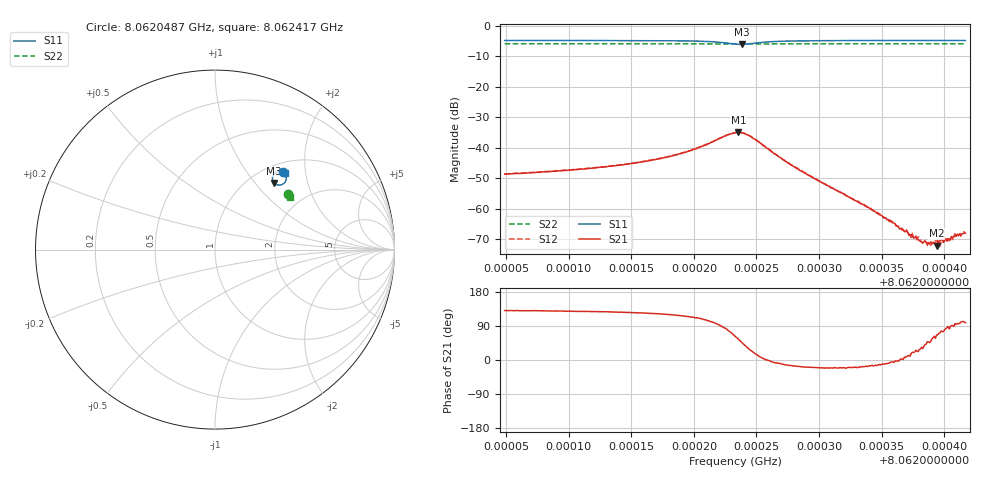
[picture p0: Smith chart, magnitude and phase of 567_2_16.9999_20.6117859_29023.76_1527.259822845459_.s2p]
#  HZ  S  RI  R  50.00
! Rohde & Schwarz Vector Network Analyzer
! Rohde-Schwarz,ZNB20-2Port,1311601062101988,3.16
! Created: UTC 3/20/2024, 11:17:27 PM
! freq[Hz]  re:S11  im:S11  re:S21  im:S21  re:S12  im:S12  re:S22  im:S22
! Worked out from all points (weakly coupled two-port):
!   401 points, 8.0620487 GHz to 8.062417 GHz, reference 50 ohm
!   highest |S21| = -34.91 dB at 8.0622356 GHz (marker M1); lowest = -72.0 dB at 8.062394 GHz (marker M2)
!   lowest |S11| = -6.1 dB at 8.0622384 GHz (marker M3), VSWR 2.98, Z = 64.2 + j63.4 ohm
!   |S11| at or under -10 dB: nowhere
!   |S22| runs from -5.9 to -5.9 dB; largest |S21 - S12| = 0.0011
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8.06204874e9  0.3802 0.4327  -0.00242 0.00282  -0.00225 0.00299  0.4044 0.3086
8.06211042e9  0.3859 0.4269  -0.00278 0.00352  -0.00257 0.00372  0.4066 0.3054
8.0621721e9  0.3937 0.4149  -0.00349 0.00563  -0.00317 0.00591  0.4089 0.3018
8.0621988e9  0.3972 0.4006  -0.00357 0.00853  -0.00311 0.00876  0.4097 0.3
8.06223286e9  0.3511 0.3602  0.00802 0.0157  0.00908 0.0154  0.4083 0.297
8.06223563e9  0.3401 0.3642  0.0103 0.0147  0.0112 0.0142  0.4081 0.2973
8.06223839e9  0.3304 0.3715  0.0122 0.0126  0.013 0.0121  0.4078 0.2977
8.06224575e9  0.3199 0.3991  0.0138 0.00627  0.0144 0.00547  0.4079 0.2987
8.06225864e9  0.3354 0.4291  0.00985 9.36e-06  0.00997 -0.000638  0.4094 0.2993
8.06227521e9  0.3548 0.4365  0.0055 -0.00136  0.0055 -0.00172  0.411 0.2984
8.06229455e9  0.3669 0.436  0.0031 -0.0011  0.0031 -0.0013  0.412 0.2973
8.06233782e9  0.379 0.4315  0.00105 -0.000295  0.00104 -0.000391  0.4139 0.2949
8.06235623e9  0.382 0.4299  0.000613 -8.6e-05  0.000636 -0.000108  0.4147 0.2939
8.06237188e9  0.3839 0.4285  0.000379 8.21e-05  0.000366 3.55e-05  0.4152 0.2931
8.06238109e9  0.3851 0.4278  0.000257 0.000142  0.00028 0.000131  0.4157 0.2926
8.06238753e9  0.3858 0.4271  0.000188 0.000208  0.000203 0.000195  0.4158 0.2924
8.06239398e9  0.3864 0.4268  0.000102 0.00023  0.000149 0.000255  0.4162 0.2919
8.06239766e9  0.3867 0.4266  7.13e-05 0.000302  9.16e-05 0.000271  0.4163 0.2918
8.06240042e9  0.3871 0.4264  5.33e-05 0.000301  6.91e-05 0.000329  0.4163 0.2916
8.06240503e9  0.3876 0.426  4.76e-06 0.000311  2.91e-05 0.000326  0.4165 0.2912
8.06241423e9  0.3883 0.4253  -7.56e-05 0.000383  -4.53e-05 0.0004  0.4168 0.2909
8.062417e9  0.3886 0.425  -5.83e-05 0.000397  -5.04e-05 0.00039  0.4169 0.2906
